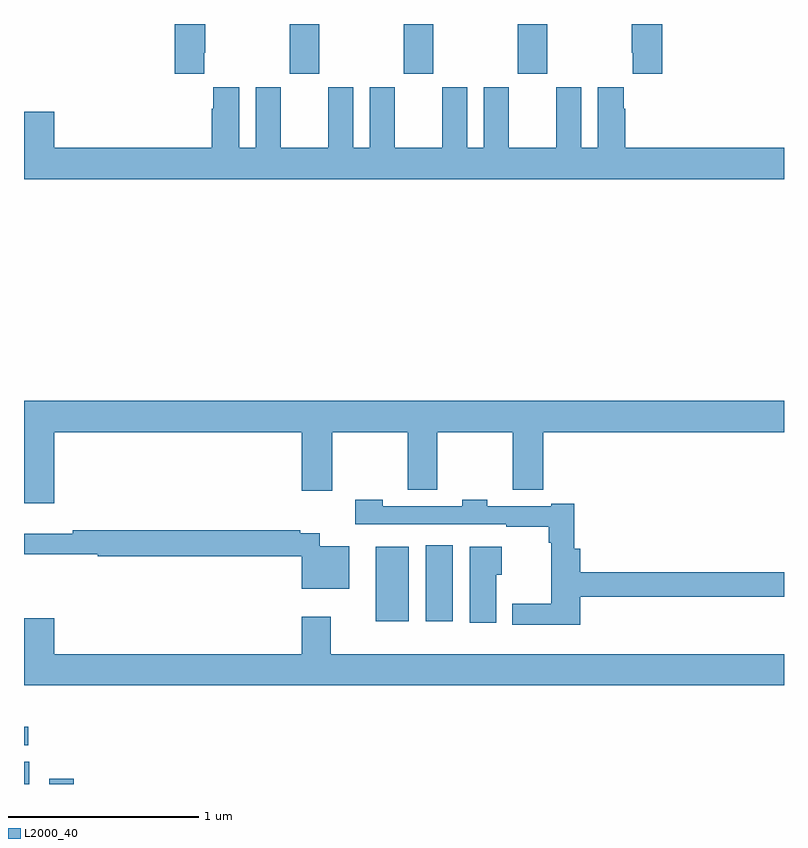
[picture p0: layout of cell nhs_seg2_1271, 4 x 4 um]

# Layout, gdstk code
import gdstk
lib = gdstk.Library(unit=1e-6, precision=1e-09)
def R(c, l, rs):  # rectangles x0, y0, x1, y1
    for r in rs: c.add(gdstk.rectangle(r[:2], r[2:], *l))
def A(c, l, x, y, w, h, nx, ny, dx, dy):  # array of equal rectangles
    R(c, l, [(x+i*dx, y+j*dy, x+i*dx+w, y+j*dy+h) for i in range(nx) for j in range(ny)])
def P(c, l, *ps):  # polygons
    for p in ps: c.add(gdstk.Polygon(p, *l))
L2000_40 = (2000, 40)

nhs_seg2_1271 = lib.new_cell('nhs_seg2_1271')
A(nhs_seg2_1271, L2000_40, 178.399, 633.537, 0.155, 0.263, 3, 1, 0.6, 0)
R(nhs_seg2_1271, L2000_40, [(177,629.8,177.028,629.918), (177.132,629.8,177.263,629.828), (177,630.003,177.022,630.102), (178.85,630.656,179.026,631.048), (179.114,630.656,179.257,631.057)])
P(nhs_seg2_1271, L2000_40, [(180.359,633.8),(180.199,633.8),(180.199,633.649),(180.203,633.649),(180.203,633.537),(180.359,633.537)],
  [(177.949,633.649),(177.954,633.649),(177.954,633.8),(177.794,633.8),(177.794,633.537),(177.949,633.537)],
  [(181,633.148),(180.164,633.148),(180.164,633.353),(180.157,633.353),(180.157,633.466),(180.02,633.466),(180.02,633.148),(179.932,633.148),(179.932,633.466),(179.801,633.466),(179.801,633.148),(179.551,633.148),(179.551,633.466),(179.42,633.466),(179.42,633.148),(179.332,633.148),(179.332,633.466),(179.201,633.466),(179.201,633.148),(178.951,633.148),(178.951,633.466),(178.82,633.466),(178.82,633.148),(178.732,633.148),(178.732,633.466),(178.601,633.466),(178.601,633.148),(178.351,633.148),(178.351,633.466),(178.22,633.466),(178.22,633.148),(178.132,633.148),(178.132,633.466),(177.995,633.466),(177.995,633.353),(177.989,633.353),(177.989,633.148),(177.16,633.148),(177.16,633.337),(177,633.337),(177,632.984),(181,632.984)],
  [(177.16,631.652),(178.463,631.652),(178.463,631.344),(178.623,631.344),(178.623,631.652),(179.02,631.652),(179.02,631.348),(179.174,631.348),(179.174,631.652),(179.572,631.652),(179.572,631.348),(179.732,631.348),(179.732,631.652),(181,631.652),(181,631.816),(177,631.816),(177,631.278),(177.16,631.278)],
  [(179.927,630.786),(181,630.786),(181,630.914),(179.927,630.914),(179.927,631.039),(179.897,631.039),(179.897,631.276),(179.774,631.276),(179.774,631.263),(179.439,631.263),(179.439,631.296),(179.307,631.296),(179.307,631.263),(178.887,631.263),(178.887,631.296),(178.743,631.296),(178.743,631.167),(179.539,631.167),(179.539,631.155),(179.761,631.155),(179.761,631.07),(179.776,631.07),(179.776,630.748),(179.571,630.748),(179.571,630.638),(179.927,630.638)],
  [(178.711,631.051),(178.557,631.051),(178.557,631.119),(178.454,631.119),(178.454,631.136),(177.256,631.136),(177.256,631.117),(177,631.117),(177,631.008),(177.387,631.008),(177.387,631),(178.461,631),(178.461,630.827),(178.711,630.827)],
  [(179.485,630.901),(179.515,630.901),(179.515,631.048),(179.345,631.048),(179.345,630.648),(179.485,630.648)],
  [(181,630.484),(178.615,630.484),(178.615,630.679),(178.463,630.679),(178.463,630.484),(177.16,630.484),(177.16,630.673),(177,630.673),(177,630.32),(181,630.32)])

lib.write_gds('nhs_seg2_1271.gds')
